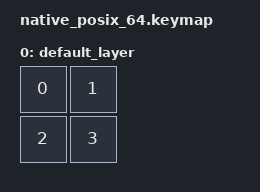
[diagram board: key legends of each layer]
#include <dt-bindings/zmk/keys.h>
#include <behaviors.dtsi>
#include <dt-bindings/zmk/kscan_mock.h>

/*
Combo on positions 01 and 23.

- press 2 and 3
- press 0
- release 2
- press 1
- release the rest

Both combos should actuate.
*/

/ {
    combos {
        compatible = "zmk,combos";

        combo_a {
            timeout-ms = <50>;
            key-positions = <0 1>;
            bindings = <&kp A>;
        };

        combo_b {
            timeout-ms = <50>;
            key-positions = <2 3>;
            bindings = <&kp B>;
        };
    };

    keymap {
        compatible = "zmk,keymap";

        default_layer {
            bindings = <
                &kp N0 &kp N1
                &kp N2 &kp N3
            >;
        };
    };
};

&kscan {
    events = <
        ZMK_MOCK_PRESS(1,0,10)
        ZMK_MOCK_PRESS(1,1,10)
        ZMK_MOCK_PRESS(0,0,10)
        ZMK_MOCK_RELEASE(1,0,10)
        ZMK_MOCK_PRESS(0,1,10)
        ZMK_MOCK_RELEASE(1,1,0)
        ZMK_MOCK_RELEASE(0,0,0)
        ZMK_MOCK_RELEASE(0,1,0)
    >;
};
